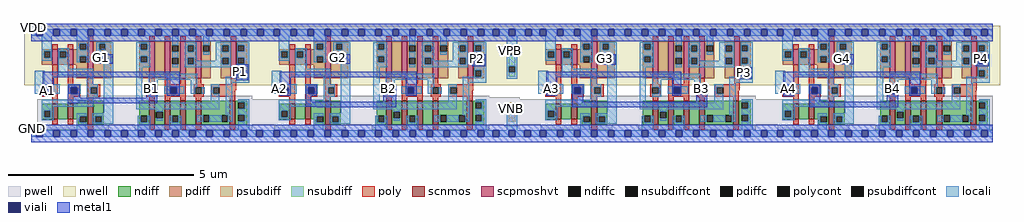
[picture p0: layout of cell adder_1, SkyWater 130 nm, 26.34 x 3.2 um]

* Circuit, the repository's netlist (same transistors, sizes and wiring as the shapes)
* NGSPICE file created from adder_1.ext - technology: sky130A

.subckt sky130_fd_sc_hd__xor2_1 A B VGND VNB VPB VPWR X
X0 X a_35_297# a_285_297# VPB sky130_fd_pr__pfet_01v8_hvt ad=0.3 pd=2.6 as=0.177 ps=1.69 w=1 l=0.15
**devattr s=10400,504 d=12000,520
X1 X B a_285_47# VNB sky130_fd_pr__nfet_01v8 ad=0.25 pd=1.42 as=0.0878 ps=0.92 w=0.65 l=0.15
**devattr s=3510,184 d=10010,284
X2 a_35_297# B VGND VNB sky130_fd_pr__nfet_01v8 ad=0.0878 pd=0.92 as=0.138 ps=1.4 w=0.65 l=0.15
**devattr s=6760,364 d=3510,184
X3 a_117_297# B a_35_297# VPB sky130_fd_pr__pfet_01v8_hvt ad=0.135 pd=1.27 as=0.26 ps=2.52 w=1 l=0.15
**devattr s=10400,504 d=5400,254
X4 VPWR B a_285_297# VPB sky130_fd_pr__pfet_01v8_hvt ad=0.177 pd=1.69 as=0.177 ps=1.69 w=1 l=0.15
**devattr s=5400,254 d=10400,504
X5 VGND A a_35_297# VNB sky130_fd_pr__nfet_01v8 ad=0.138 pd=1.4 as=0.0878 ps=0.92 w=0.65 l=0.15
**devattr s=3510,184 d=3510,184
X6 VGND a_35_297# X VNB sky130_fd_pr__nfet_01v8 ad=0.138 pd=1.4 as=0.25 ps=1.42 w=0.65 l=0.15
**devattr s=10010,284 d=8320,388
X7 a_285_297# A VPWR VPB sky130_fd_pr__pfet_01v8_hvt ad=0.177 pd=1.69 as=0.177 ps=1.69 w=1 l=0.15
**devattr s=5400,254 d=5400,254
X8 VPWR A a_117_297# VPB sky130_fd_pr__pfet_01v8_hvt ad=0.177 pd=1.69 as=0.135 ps=1.27 w=1 l=0.15
**devattr s=5400,254 d=5400,254
X9 a_285_47# A VGND VNB sky130_fd_pr__nfet_01v8 ad=0.0878 pd=0.92 as=0.138 ps=1.4 w=0.65 l=0.15
**devattr s=3510,184 d=3510,184
.ends

.subckt sky130_fd_sc_hd__and2_1 A B VGND VNB VPB VPWR X
X0 VPWR B a_59_75# VPB sky130_fd_pr__pfet_01v8_hvt ad=0.103 pd=0.954 as=0.0567 ps=0.69 w=0.42 l=0.15
**devattr s=2268,138 d=6662,278
X1 X a_59_75# VPWR VPB sky130_fd_pr__pfet_01v8_hvt ad=0.475 pd=2.95 as=0.245 ps=2.27 w=1 l=0.15
**devattr s=6662,278 d=19000,590
X2 VGND B a_145_75# VNB sky130_fd_pr__nfet_01v8 ad=0.0878 pd=0.816 as=0.0567 ps=0.69 w=0.42 l=0.15
**devattr s=2268,138 d=4472,208
X3 a_59_75# A VPWR VPB sky130_fd_pr__pfet_01v8_hvt ad=0.0567 pd=0.69 as=0.103 ps=0.954 w=0.42 l=0.15
**devattr s=4704,280 d=2268,138
X4 X a_59_75# VGND VNB sky130_fd_pr__nfet_01v8 ad=0.182 pd=1.86 as=0.136 ps=1.26 w=0.65 l=0.15
**devattr s=4472,208 d=7280,372
X5 a_145_75# A a_59_75# VNB sky130_fd_pr__nfet_01v8 ad=0.0567 pd=0.69 as=0.118 ps=1.4 w=0.42 l=0.15
**devattr s=4704,280 d=2268,138
.ends

Xsky130_fd_sc_hd__xor2_1_3 A4 B4 GND GND VDD VDD P4 sky130_fd_sc_hd__xor2_1
Xsky130_fd_sc_hd__and2_1_0 A1 B1 GND GND VDD VDD G1 sky130_fd_sc_hd__and2_1
Xsky130_fd_sc_hd__and2_1_1 A2 B2 GND GND VDD VDD G2 sky130_fd_sc_hd__and2_1
Xsky130_fd_sc_hd__and2_1_2 A3 B3 GND GND VDD VDD G3 sky130_fd_sc_hd__and2_1
Xsky130_fd_sc_hd__and2_1_3 A4 B4 GND GND VDD VDD G4 sky130_fd_sc_hd__and2_1
Xsky130_fd_sc_hd__xor2_1_0 A1 B1 GND GND VDD VDD P1 sky130_fd_sc_hd__xor2_1
Xsky130_fd_sc_hd__xor2_1_1 A2 B2 GND GND VDD VDD P2 sky130_fd_sc_hd__xor2_1
Xsky130_fd_sc_hd__xor2_1_2 A3 B3 GND GND VDD VDD P3 sky130_fd_sc_hd__xor2_1
.end

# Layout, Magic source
magic
tech sky130A
magscale 1 2
<< nwell >>
rect 433 259 473 580
rect 1184 259 1204 580
rect 1207 259 1247 579
rect 1724 259 1754 580
rect 3167 259 3191 580
rect 3900 259 3921 580
rect 4446 259 4474 580
<< pwell >>
rect 343 45 523 200
rect 1148 45 1278 183
rect 1619 46 1802 200
rect 2422 45 2522 193
rect 2590 46 2713 183
rect 3061 45 3244 200
rect 3863 46 3994 183
rect 4369 46 4519 201
<< locali >>
rect 412 525 444 559
rect 480 525 513 559
rect 1144 525 1180 559
rect 1215 525 1245 559
rect 1693 525 1724 559
rect 1760 525 1793 559
rect 2428 525 2450 559
rect 2485 525 2512 559
rect 2592 525 2625 559
rect 2660 525 2678 559
rect 3132 525 3163 559
rect 3198 525 3231 559
rect 3862 525 3898 559
rect 3933 525 3962 559
rect 4411 525 4443 559
rect 4478 525 4512 559
rect 340 420 375 454
rect 397 -20 444 15
rect 480 -20 515 15
rect 1147 -19 1174 15
rect 1210 -19 1246 15
rect 1686 -19 1725 15
rect 1760 -19 1795 15
rect 2429 -19 2450 15
rect 2485 -19 2516 15
rect 2592 -19 2620 15
rect 2655 -19 2679 15
rect 3124 -19 3163 15
rect 3198 -19 3229 15
rect 3864 -19 3898 15
rect 3933 -19 3960 15
rect 4405 -19 4443 15
rect 4478 -19 4513 15
<< viali >>
rect 79 525 113 559
rect 444 525 480 559
rect 1180 525 1215 559
rect 1724 525 1760 559
rect 2450 525 2485 559
rect 2625 525 2660 559
rect 3163 525 3198 559
rect 3898 525 3933 559
rect 4443 525 4478 559
rect 325 381 359 415
rect 1605 381 1639 415
rect 2355 373 2389 407
rect 3043 381 3077 415
rect 4323 381 4357 415
rect 5073 373 5107 407
rect 1075 305 1109 339
rect 3793 305 3827 339
rect 32 213 66 247
rect 173 213 207 247
rect 593 213 627 247
rect 710 213 744 247
rect 1312 213 1346 247
rect 1453 213 1487 247
rect 1873 213 1907 247
rect 1990 213 2024 247
rect 2750 213 2784 247
rect 2891 213 2925 247
rect 3428 213 3462 247
rect 3563 213 3597 247
rect 4030 213 4064 247
rect 4171 213 4205 247
rect 4591 213 4625 247
rect 4708 213 4742 247
rect 444 -20 480 15
rect 1174 -19 1210 15
rect 1725 -19 1760 15
rect 2450 -19 2485 15
rect 2620 -19 2655 15
rect 3163 -19 3198 15
rect 3898 -19 3933 15
rect 4443 -19 4478 15
<< metal1 >>
rect 413 559 511 590
rect 413 525 444 559
rect 480 525 511 559
rect 413 494 511 525
rect 1145 559 1242 590
rect 1145 525 1180 559
rect 1215 525 1242 559
rect 1145 494 1242 525
rect 1693 559 1791 590
rect 1693 525 1724 559
rect 1760 525 1791 559
rect 1693 494 1791 525
rect 2425 559 2513 590
rect 2425 525 2450 559
rect 2485 525 2513 559
rect 2425 494 2513 525
rect 2595 559 2684 590
rect 2595 525 2625 559
rect 2660 525 2684 559
rect 2595 494 2684 525
rect 3130 559 3231 590
rect 3130 525 3163 559
rect 3198 525 3231 559
rect 3130 494 3231 525
rect 3864 559 3962 590
rect 3864 525 3898 559
rect 3933 525 3962 559
rect 3864 494 3962 525
rect 4411 559 4512 590
rect 4411 525 4443 559
rect 4478 525 4512 559
rect 4411 494 4512 525
rect 310 415 400 425
rect 310 381 325 415
rect 359 381 400 415
rect 310 375 400 381
rect 1590 415 1680 425
rect 1590 381 1605 415
rect 1639 381 1680 415
rect 1590 375 1680 381
rect 2340 407 2410 425
rect 2340 373 2355 407
rect 2389 373 2410 407
rect 1066 339 1130 370
rect 2340 360 2410 373
rect 3023 415 3113 425
rect 3023 381 3043 415
rect 3077 381 3113 415
rect 3023 369 3113 381
rect 4308 415 4398 425
rect 4308 381 4323 415
rect 4357 381 4398 415
rect 4308 370 4398 381
rect 5058 407 5128 425
rect 5058 373 5073 407
rect 5107 373 5128 407
rect 5058 360 5128 373
rect 20 301 760 330
rect 20 300 634 301
rect 20 247 80 300
rect 20 213 32 247
rect 66 213 80 247
rect 20 200 80 213
rect 160 247 220 260
rect 160 213 173 247
rect 207 213 220 247
rect 160 210 220 213
rect 157 190 220 210
rect 579 247 640 260
rect 579 213 593 247
rect 627 213 640 247
rect 579 190 640 213
rect 690 247 760 301
rect 1066 305 1075 339
rect 1109 305 1130 339
rect 3778 339 3848 355
rect 1066 286 1130 305
rect 1300 300 2040 330
rect 690 213 710 247
rect 744 213 760 247
rect 690 200 760 213
rect 1300 247 1360 300
rect 1300 213 1312 247
rect 1346 213 1360 247
rect 1300 200 1360 213
rect 1440 247 1500 260
rect 1440 213 1453 247
rect 1487 213 1500 247
rect 1440 200 1500 213
rect 1860 247 1930 260
rect 1860 213 1873 247
rect 1907 213 1930 247
rect 157 160 640 190
rect 1440 170 1470 200
rect 1860 170 1930 213
rect 1980 247 2040 300
rect 1980 213 1990 247
rect 2024 213 2040 247
rect 1980 200 2040 213
rect 2738 300 3468 330
rect 2738 247 2798 300
rect 2738 213 2750 247
rect 2784 213 2798 247
rect 2738 200 2798 213
rect 2878 247 2938 260
rect 2878 213 2891 247
rect 2925 213 2938 247
rect 1440 141 1930 170
rect 1500 140 1930 141
rect 2878 170 2938 213
rect 3418 247 3468 300
rect 3778 305 3793 339
rect 3827 305 3848 339
rect 3778 290 3848 305
rect 4018 300 4758 330
rect 3418 213 3428 247
rect 3462 213 3468 247
rect 3418 200 3468 213
rect 3548 247 3608 260
rect 3548 213 3563 247
rect 3597 213 3608 247
rect 3548 170 3608 213
rect 4018 247 4078 300
rect 4018 213 4030 247
rect 4064 213 4078 247
rect 4018 199 4078 213
rect 4158 247 4218 260
rect 4588 259 4638 260
rect 4158 213 4171 247
rect 4205 213 4218 247
rect 2878 140 3608 170
rect 4158 170 4218 213
rect 4578 247 4638 259
rect 4578 213 4591 247
rect 4625 213 4638 247
rect 4578 170 4638 213
rect 4698 247 4758 300
rect 4698 213 4708 247
rect 4742 213 4758 247
rect 4698 200 4758 213
rect 4158 140 4638 170
rect 405 15 515 45
rect 405 -20 444 15
rect 480 -20 515 15
rect 405 -50 515 -20
rect 1144 15 1246 46
rect 1690 15 1796 46
rect 1144 -19 1174 15
rect 1210 -19 1246 15
rect 1686 -19 1725 15
rect 1760 -19 1796 15
rect 1144 -50 1246 -19
rect 1690 -50 1796 -19
rect 2423 15 2513 46
rect 2423 -19 2450 15
rect 2485 -19 2513 15
rect 2423 -50 2513 -19
rect 2599 15 2684 46
rect 2599 -19 2620 15
rect 2655 -19 2684 15
rect 2599 -50 2684 -19
rect 3131 15 3231 46
rect 3131 -19 3163 15
rect 3198 -19 3231 15
rect 3131 -50 3231 -19
rect 3864 15 3962 46
rect 3864 -19 3898 15
rect 3933 -19 3962 15
rect 3864 -50 3962 -19
rect 4410 15 4513 46
rect 4410 -19 4443 15
rect 4478 -19 4513 15
rect 4410 -50 4513 -19
use sky130_fd_sc_hd__and2_1  sky130_fd_sc_hd__and2_1_0
transform 1 0 -42 0 1 -2
box -38 -48 498 592
use sky130_fd_sc_hd__and2_1  sky130_fd_sc_hd__and2_1_1
transform 1 0 1238 0 1 -2
box -38 -48 498 592
use sky130_fd_sc_hd__and2_1  sky130_fd_sc_hd__and2_1_2
transform 1 0 2676 0 1 -2
box -38 -48 498 592
use sky130_fd_sc_hd__and2_1  sky130_fd_sc_hd__and2_1_3
transform 1 0 3956 0 1 -2
box -38 -48 498 592
use sky130_fd_sc_hd__tapvpwrvgnd_1  sky130_fd_sc_hd__tapvpwrvgnd_1_0
transform 1 0 2508 0 1 -2
box -38 -48 130 592
use sky130_fd_sc_hd__xor2_1  sky130_fd_sc_hd__xor2_1_0
transform 1 0 508 0 1 -2
box -38 -48 682 592
use sky130_fd_sc_hd__xor2_1  sky130_fd_sc_hd__xor2_1_1
transform 1 0 1788 0 1 -2
box -38 -48 682 592
use sky130_fd_sc_hd__xor2_1  sky130_fd_sc_hd__xor2_1_2
transform 1 0 3226 0 1 -2
box -38 -48 682 592
use sky130_fd_sc_hd__xor2_1  sky130_fd_sc_hd__xor2_1_3
transform 1 0 4506 0 1 -2
box -38 -48 682 592
<< labels >>
flabel metal1 1300 240 1300 240 1 FreeSans 320 0 0 0 A2
port 3 n
flabel viali 610 240 610 240 1 FreeSans 192 0 0 0 B1
port 2 n
flabel viali 1890 242 1890 242 1 FreeSans 192 0 0 0 B2
port 4 n
flabel viali 1090 330 1090 330 1 FreeSans 192 0 0 0 P1
port 10 n
flabel viali 340 405 340 405 1 FreeSans 128 0 0 0 G1
port 9 n
flabel viali 1620 405 1620 405 1 FreeSans 160 0 0 0 G2
port 11 n
flabel viali 2370 400 2370 400 1 FreeSans 128 0 0 0 P2
port 12 n
flabel viali 2768 240 2768 240 1 FreeSans 256 0 0 0 A3
port 5 n
flabel viali 3578 240 3578 240 1 FreeSans 192 0 0 0 B3
port 6 n
flabel viali 4046 240 4046 240 1 FreeSans 192 0 0 0 A4
port 7 n
flabel viali 4610 238 4610 238 1 FreeSans 192 0 0 0 B4
port 8 n
flabel viali 5088 400 5088 400 1 FreeSans 128 0 0 0 P4
port 16 n
flabel viali 3808 326 3808 326 1 FreeSans 256 0 0 0 P3
port 14 n
flabel viali 3058 400 3058 400 1 FreeSans 160 0 0 0 G3
port 13 n
flabel viali 4336 400 4336 400 1 FreeSans 160 0 0 0 G4
port 15 n
flabel metal1 s -30 570 -30 570 1 FreeSans 128 0 0 0 VDD
port 17 n
flabel metal1 s -35 25 -35 25 1 FreeSans 96 0 0 0 GND
port 18 n
flabel space 2548 447 2548 447 1 FreeSans 128 0 0 0 VPB
port 19 n
flabel space 2550 135 2550 135 1 FreeSans 128 0 0 0 VNB
port 20 n
flabel viali 45 230 45 230 1 FreeSans 160 0 0 0 A1
port 1 n
<< end >>

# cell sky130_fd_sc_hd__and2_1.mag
magic
tech sky130A
magscale 1 2
<< nwell >>
rect -38 261 498 582
<< pwell >>
rect 229 185 419 203
rect 33 21 419 185
rect 33 17 63 21
rect 29 -17 63 17
<< scnmos >>
rect 115 75 145 159
rect 199 75 229 159
rect 307 47 337 177
<< scpmoshvt >>
rect 115 371 145 455
rect 199 371 229 455
rect 307 297 337 497
<< ndiff >>
rect 255 159 307 177
rect 59 121 115 159
rect 59 87 71 121
rect 105 87 115 121
rect 59 75 115 87
rect 145 75 199 159
rect 229 93 307 159
rect 229 75 263 93
rect 255 59 263 75
rect 297 59 307 93
rect 255 47 307 59
rect 337 93 393 177
rect 337 59 347 93
rect 381 59 393 93
rect 337 47 393 59
<< pdiff >>
rect 255 485 307 497
rect 255 455 263 485
rect 59 443 115 455
rect 59 409 71 443
rect 105 409 115 443
rect 59 371 115 409
rect 145 443 199 455
rect 145 409 155 443
rect 189 409 199 443
rect 145 371 199 409
rect 229 451 263 455
rect 297 451 307 485
rect 229 417 307 451
rect 229 383 263 417
rect 297 383 307 417
rect 229 371 307 383
rect 245 297 307 371
rect 337 485 432 497
rect 337 451 367 485
rect 401 451 432 485
rect 337 417 432 451
rect 337 383 367 417
rect 401 383 432 417
rect 337 297 432 383
<< ndiffc >>
rect 71 87 105 121
rect 263 59 297 93
rect 347 59 381 93
<< pdiffc >>
rect 71 409 105 443
rect 155 409 189 443
rect 263 451 297 485
rect 263 383 297 417
rect 367 451 401 485
rect 367 383 401 417
<< poly >>
rect 307 497 337 523
rect 115 455 145 481
rect 199 455 229 481
rect 115 265 145 371
rect 58 249 145 265
rect 58 215 74 249
rect 108 215 145 249
rect 58 199 145 215
rect 115 159 145 199
rect 199 265 229 371
rect 307 265 337 297
rect 199 249 265 265
rect 199 215 215 249
rect 249 215 265 249
rect 199 199 265 215
rect 307 249 373 265
rect 307 215 323 249
rect 357 215 373 249
rect 307 199 373 215
rect 199 159 229 199
rect 307 177 337 199
rect 115 49 145 75
rect 199 49 229 75
rect 307 21 337 47
<< polycont >>
rect 74 215 108 249
rect 215 215 249 249
rect 323 215 357 249
<< locali >>
rect 0 527 29 561
rect 63 527 121 561
rect 155 527 213 561
rect 247 527 305 561
rect 339 527 397 561
rect 431 527 460 561
rect 57 443 113 527
rect 247 485 313 527
rect 57 409 71 443
rect 105 409 113 443
rect 57 393 113 409
rect 147 443 207 459
rect 147 409 155 443
rect 189 409 207 443
rect 147 349 207 409
rect 247 451 263 485
rect 297 451 313 485
rect 247 417 313 451
rect 247 383 263 417
rect 297 383 313 417
rect 351 485 443 493
rect 351 451 367 485
rect 401 451 443 485
rect 351 417 443 451
rect 351 383 367 417
rect 401 383 443 417
rect 20 265 73 337
rect 147 315 335 349
rect 301 265 335 315
rect 20 249 155 265
rect 20 215 74 249
rect 108 215 155 249
rect 199 249 267 265
rect 199 215 215 249
rect 249 215 267 249
rect 301 249 359 265
rect 301 215 323 249
rect 357 215 359 249
rect 301 199 359 215
rect 301 181 335 199
rect 57 143 335 181
rect 57 121 123 143
rect 57 87 71 121
rect 105 87 123 121
rect 393 109 443 383
rect 57 71 123 87
rect 247 93 297 109
rect 247 59 263 93
rect 247 17 297 59
rect 331 93 443 109
rect 331 59 347 93
rect 381 59 443 93
rect 331 51 443 59
rect 0 -17 29 17
rect 63 -17 121 17
rect 155 -17 213 17
rect 247 -17 305 17
rect 339 -17 397 17
rect 431 -17 460 17
<< viali >>
rect 29 527 63 561
rect 121 527 155 561
rect 213 527 247 561
rect 305 527 339 561
rect 397 527 431 561
rect 29 -17 63 17
rect 121 -17 155 17
rect 213 -17 247 17
rect 305 -17 339 17
rect 397 -17 431 17
<< metal1 >>
rect 0 561 460 592
rect 0 527 29 561
rect 63 527 121 561
rect 155 527 213 561
rect 247 527 305 561
rect 339 527 397 561
rect 431 527 460 561
rect 0 496 460 527
rect 0 17 460 48
rect 0 -17 29 17
rect 63 -17 121 17
rect 155 -17 213 17
rect 247 -17 305 17
rect 339 -17 397 17
rect 431 -17 460 17
rect 0 -48 460 -17
<< labels >>
flabel metal1 s 29 527 63 561 0 FreeSans 200 0 0 0 VPWR
port 6 nsew power bidirectional abutment
flabel metal1 s 29 -17 63 17 0 FreeSans 200 0 0 0 VGND
port 3 nsew ground bidirectional abutment
flabel locali s 397 153 431 187 0 FreeSans 250 0 0 0 X
port 7 nsew signal output
flabel locali s 397 85 431 119 0 FreeSans 250 0 0 0 X
port 7 nsew signal output
flabel locali s 397 221 431 255 0 FreeSans 250 0 0 0 X
port 7 nsew signal output
flabel locali s 397 289 431 323 0 FreeSans 250 0 0 0 X
port 7 nsew signal output
flabel locali s 397 357 431 391 0 FreeSans 250 0 0 0 X
port 7 nsew signal output
flabel locali s 397 425 431 459 0 FreeSans 250 0 0 0 X
port 7 nsew signal output
flabel locali s 213 221 247 255 0 FreeSans 250 0 0 0 B
port 2 nsew signal input
flabel locali s 121 221 155 255 0 FreeSans 250 0 0 0 A
port 1 nsew signal input
flabel locali s 29 221 63 255 0 FreeSans 250 0 0 0 A
port 1 nsew signal input
flabel nwell s 29 527 63 561 0 FreeSans 200 0 0 0 VPB
port 5 nsew power bidirectional
flabel pwell s 29 -17 63 17 0 FreeSans 200 0 0 0 VNB
port 4 nsew ground bidirectional
rlabel comment s 0 0 0 0 4 and2_1
rlabel metal1 s 0 -48 460 48 1 VGND
port 3 nsew ground bidirectional abutment
rlabel metal1 s 0 496 460 592 1 VPWR
port 6 nsew power bidirectional abutment
<< properties >>
string FIXED_BBOX 0 0 460 544
string GDS_END 3841510
string GDS_FILE $PDKPATH/libs.ref/sky130_fd_sc_hd/gds/sky130_fd_sc_hd.gds
string GDS_START 3836668
string LEFclass CORE
string LEFsite unithd
string LEFsymmetry X Y R90
string path 0.000 13.600 11.500 13.600 
<< end >>

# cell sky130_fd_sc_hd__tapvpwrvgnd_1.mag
magic
tech sky130A
magscale 1 2
<< nwell >>
rect -38 261 130 582
<< pwell >>
rect 3 38 89 195
<< psubdiff >>
rect 29 145 63 169
rect 29 64 63 111
<< nsubdiff >>
rect 29 456 63 480
rect 29 363 63 422
rect 29 305 63 329
<< psubdiffcont >>
rect 29 111 63 145
<< nsubdiffcont >>
rect 29 422 63 456
rect 29 329 63 363
<< locali >>
rect 0 527 29 561
rect 63 527 92 561
rect 17 456 75 527
rect 17 422 29 456
rect 63 422 75 456
rect 17 363 75 422
rect 17 329 29 363
rect 63 329 75 363
rect 17 294 75 329
rect 17 145 75 162
rect 17 111 29 145
rect 63 111 75 145
rect 17 17 75 111
rect 0 -17 29 17
rect 63 -17 92 17
<< viali >>
rect 29 527 63 561
rect 29 -17 63 17
<< metal1 >>
rect 0 561 92 592
rect 0 527 29 561
rect 63 527 92 561
rect 0 496 92 527
rect 0 17 92 48
rect 0 -17 29 17
rect 63 -17 92 17
rect 0 -48 92 -17
<< labels >>
flabel metal1 s 22 524 75 553 0 FreeSans 200 0 0 0 VPWR
port 2 nsew power bidirectional abutment
flabel metal1 s 21 -18 72 20 0 FreeSans 200 0 0 0 VGND
port 1 nsew ground bidirectional abutment
rlabel comment s 0 0 0 0 4 tapvpwrvgnd_1
rlabel metal1 s 0 -48 92 48 1 VGND
port 1 nsew ground bidirectional abutment
rlabel metal1 s 0 496 92 592 1 VPWR
port 2 nsew power bidirectional abutment
<< properties >>
string FIXED_BBOX 0 0 92 544
string GDS_END 626290
string GDS_FILE $PDKPATH/libs.ref/sky130_fd_sc_hd/gds/sky130_fd_sc_hd.gds
string GDS_START 624670
string LEFclass CORE WELLTAP
string LEFsite unithd
string LEFsymmetry X Y R90
string MASKHINTS_PSDM 0 38 92 195
string MASKHINTS_NSDM 0 279 92 506
<< end >>

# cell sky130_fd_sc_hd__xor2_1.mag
magic
tech sky130A
magscale 1 2
<< nwell >>
rect -38 261 682 582
<< pwell >>
rect 9 21 643 203
rect 29 -17 63 21
<< scnmos >>
rect 87 47 117 177
rect 171 47 201 177
rect 255 47 285 177
rect 339 47 369 177
rect 523 47 553 177
<< scpmoshvt >>
rect 87 297 117 497
rect 171 297 201 497
rect 255 297 285 497
rect 339 297 369 497
rect 527 297 557 497
<< ndiff >>
rect 35 95 87 177
rect 35 61 43 95
rect 77 61 87 95
rect 35 47 87 61
rect 117 117 171 177
rect 117 83 127 117
rect 161 83 171 117
rect 117 47 171 83
rect 201 95 255 177
rect 201 61 211 95
rect 245 61 255 95
rect 201 47 255 61
rect 285 47 339 177
rect 369 97 523 177
rect 369 63 379 97
rect 413 63 479 97
rect 513 63 523 97
rect 369 47 523 63
rect 553 168 617 177
rect 553 134 569 168
rect 603 134 617 168
rect 553 100 617 134
rect 553 66 569 100
rect 603 66 617 100
rect 553 47 617 66
<< pdiff >>
rect 35 485 87 497
rect 35 451 43 485
rect 77 451 87 485
rect 35 417 87 451
rect 35 383 43 417
rect 77 383 87 417
rect 35 297 87 383
rect 117 297 171 497
rect 201 475 255 497
rect 201 441 211 475
rect 245 441 255 475
rect 201 407 255 441
rect 201 373 211 407
rect 245 373 255 407
rect 201 297 255 373
rect 285 475 339 497
rect 285 441 295 475
rect 329 441 339 475
rect 285 407 339 441
rect 285 373 295 407
rect 329 373 339 407
rect 285 297 339 373
rect 369 475 421 497
rect 369 441 379 475
rect 413 441 421 475
rect 369 297 421 441
rect 475 475 527 497
rect 475 441 483 475
rect 517 441 527 475
rect 475 407 527 441
rect 475 373 483 407
rect 517 373 527 407
rect 475 297 527 373
rect 557 477 617 497
rect 557 443 567 477
rect 601 443 617 477
rect 557 409 617 443
rect 557 375 567 409
rect 601 375 617 409
rect 557 341 617 375
rect 557 307 567 341
rect 601 307 617 341
rect 557 297 617 307
<< ndiffc >>
rect 43 61 77 95
rect 127 83 161 117
rect 211 61 245 95
rect 379 63 413 97
rect 479 63 513 97
rect 569 134 603 168
rect 569 66 603 100
<< pdiffc >>
rect 43 451 77 485
rect 43 383 77 417
rect 211 441 245 475
rect 211 373 245 407
rect 295 441 329 475
rect 295 373 329 407
rect 379 441 413 475
rect 483 441 517 475
rect 483 373 517 407
rect 567 443 601 477
rect 567 375 601 409
rect 567 307 601 341
<< poly >>
rect 87 497 117 523
rect 171 497 201 523
rect 255 497 285 523
rect 339 497 369 523
rect 527 497 557 523
rect 87 265 117 297
rect 171 265 201 297
rect 255 265 285 297
rect 339 265 369 297
rect 527 265 557 297
rect 75 249 129 265
rect 75 215 85 249
rect 119 215 129 249
rect 75 199 129 215
rect 171 249 285 265
rect 171 215 202 249
rect 236 215 285 249
rect 171 199 285 215
rect 327 249 381 265
rect 327 215 337 249
rect 371 215 381 249
rect 327 199 381 215
rect 423 249 557 265
rect 423 215 433 249
rect 467 232 557 249
rect 467 215 553 232
rect 423 199 553 215
rect 87 177 117 199
rect 171 177 201 199
rect 255 177 285 199
rect 339 177 369 199
rect 523 177 553 199
rect 87 21 117 47
rect 171 21 201 47
rect 255 21 285 47
rect 339 21 369 47
rect 523 21 553 47
<< polycont >>
rect 85 215 119 249
rect 202 215 236 249
rect 337 215 371 249
rect 433 215 467 249
<< locali >>
rect 0 527 29 561
rect 63 527 121 561
rect 155 527 213 561
rect 247 527 305 561
rect 339 527 397 561
rect 431 527 489 561
rect 523 527 581 561
rect 615 527 644 561
rect 17 485 93 493
rect 17 451 43 485
rect 77 451 93 485
rect 17 417 93 451
rect 17 383 43 417
rect 77 383 93 417
rect 17 357 93 383
rect 211 475 245 527
rect 211 407 245 441
rect 211 357 245 373
rect 279 475 345 493
rect 279 441 295 475
rect 329 441 345 475
rect 279 407 345 441
rect 379 475 413 527
rect 379 425 413 441
rect 447 475 527 493
rect 447 441 483 475
rect 517 441 527 475
rect 279 373 295 407
rect 329 391 345 407
rect 447 407 527 441
rect 447 391 483 407
rect 329 373 483 391
rect 517 373 527 407
rect 279 357 527 373
rect 563 477 627 493
rect 563 443 567 477
rect 601 443 627 477
rect 563 409 627 443
rect 563 375 567 409
rect 601 375 627 409
rect 17 165 51 357
rect 563 341 627 375
rect 85 289 346 323
rect 563 307 567 341
rect 601 307 627 341
rect 85 249 134 289
rect 119 215 134 249
rect 168 249 278 255
rect 168 215 202 249
rect 236 215 278 249
rect 312 249 346 289
rect 501 273 627 307
rect 421 249 467 265
rect 312 215 337 249
rect 371 215 387 249
rect 421 215 433 249
rect 85 199 134 215
rect 421 165 467 215
rect 17 131 467 165
rect 127 117 161 131
rect 27 61 43 95
rect 77 61 93 95
rect 501 97 535 273
rect 127 67 161 83
rect 27 17 93 61
rect 195 61 211 95
rect 245 61 261 95
rect 344 63 379 97
rect 413 63 479 97
rect 513 63 535 97
rect 569 168 627 184
rect 603 134 627 168
rect 569 100 627 134
rect 603 66 627 100
rect 195 17 261 61
rect 569 17 627 66
rect 0 -17 29 17
rect 63 -17 121 17
rect 155 -17 213 17
rect 247 -17 305 17
rect 339 -17 397 17
rect 431 -17 489 17
rect 523 -17 581 17
rect 615 -17 644 17
<< viali >>
rect 29 527 63 561
rect 121 527 155 561
rect 213 527 247 561
rect 305 527 339 561
rect 397 527 431 561
rect 489 527 523 561
rect 581 527 615 561
rect 29 -17 63 17
rect 121 -17 155 17
rect 213 -17 247 17
rect 305 -17 339 17
rect 397 -17 431 17
rect 489 -17 523 17
rect 581 -17 615 17
<< metal1 >>
rect 0 561 644 592
rect 0 527 29 561
rect 63 527 121 561
rect 155 527 213 561
rect 247 527 305 561
rect 339 527 397 561
rect 431 527 489 561
rect 523 527 581 561
rect 615 527 644 561
rect 0 496 644 527
rect 0 17 644 48
rect 0 -17 29 17
rect 63 -17 121 17
rect 155 -17 213 17
rect 247 -17 305 17
rect 339 -17 397 17
rect 431 -17 489 17
rect 523 -17 581 17
rect 615 -17 644 17
rect 0 -48 644 -17
<< labels >>
flabel locali s 121 289 155 323 0 FreeSans 200 0 0 0 B
port 2 nsew signal input
flabel locali s 581 289 615 323 0 FreeSans 200 0 0 0 X
port 7 nsew signal output
flabel locali s 213 221 247 255 0 FreeSans 200 0 0 0 A
port 1 nsew signal input
flabel pwell s 29 -17 63 17 0 FreeSans 200 0 0 0 VNB
port 4 nsew ground bidirectional
flabel nwell s 29 527 63 561 0 FreeSans 200 0 0 0 VPB
port 5 nsew power bidirectional
flabel metal1 s 29 527 63 561 0 FreeSans 200 0 0 0 VPWR
port 6 nsew power bidirectional abutment
flabel metal1 s 29 -17 63 17 0 FreeSans 200 0 0 0 VGND
port 3 nsew ground bidirectional abutment
rlabel comment s 0 0 0 0 4 xor2_1
rlabel metal1 s 0 -48 644 48 1 VGND
port 3 nsew ground bidirectional abutment
rlabel metal1 s 0 496 644 592 1 VPWR
port 6 nsew power bidirectional abutment
<< properties >>
string FIXED_BBOX 0 0 644 544
string GDS_END 637768
string GDS_FILE $PDKPATH/libs.ref/sky130_fd_sc_hd/gds/sky130_fd_sc_hd.gds
string GDS_START 632386
string LEFclass CORE
string LEFsite unithd
string LEFsymmetry X Y R90
string path 0.000 2.720 3.220 2.720 
<< end >>
